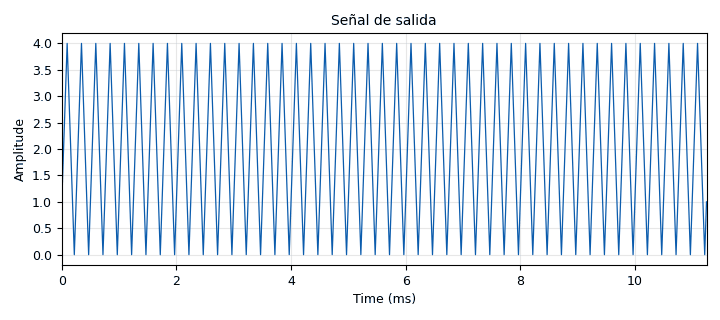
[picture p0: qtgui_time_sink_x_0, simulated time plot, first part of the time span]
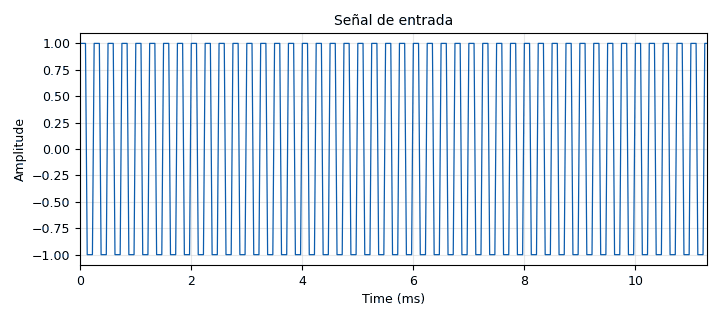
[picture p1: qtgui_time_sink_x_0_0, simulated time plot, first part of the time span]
options:
  parameters:
    generate_options: qt_gui
    id: acumulador
    output_language: python
    title: Not titled yet
  states: {}

blocks:
- name: samp_rate
  id: variable
  parameters:
    value: '32000'
  states: {}
- name: blocks_throttle2_0
  id: blocks_throttle2
  parameters:
    limit: items
    samples_per_second: samp_rate
    type: float
  states: {}
- name: blocks_vector_source_x_0
  id: blocks_vector_source_x
  parameters:
    repeat: 'True'
    type: float
    vector: (1, 1, 1, 1, -1, -1, -1, -1)
  states: {}
- name: epy_block_0
  id: epy_block
  parameters:
    _source_code: |-
      import numpy as np
      from gnuradio import gr

      class blk(gr.sync_block):
          def __init__(self):
              gr.sync_block.__init__(
                  self,
                  name='Acumulador',
                  in_sig=[np.float32],
                  out_sig=[np.float32]
              )
              self.suma = 0.0

          def work(self, input_items, output_items):
              in0 = input_items[0]
              out = output_items[0]

              for i in range(len(in0)):
                  self.suma += in0[i]
                  out[i] = self.suma

              return len(out)
  states: {}
- name: qtgui_time_sink_x_0
  id: qtgui_time_sink_x
  parameters:
    autoscale: 'True'
    name: '"Señal de salida"'
    size: '1024'
    srate: samp_rate
    type: float
  states: {}
- name: qtgui_time_sink_x_0_0
  id: qtgui_time_sink_x
  parameters:
    autoscale: 'True'
    grid: 'True'
    name: '"Señal de entrada"'
    size: '1024'
    srate: samp_rate
    type: float
  states: {}

connections:
- [blocks_throttle2_0, '0', epy_block_0, '0']
- [blocks_vector_source_x_0, '0', blocks_throttle2_0, '0']
- [blocks_vector_source_x_0, '0', qtgui_time_sink_x_0_0, '0']
- [epy_block_0, '0', qtgui_time_sink_x_0, '0']

metadata:
  file_format: 1
  grc_version: 3.10.12.0
